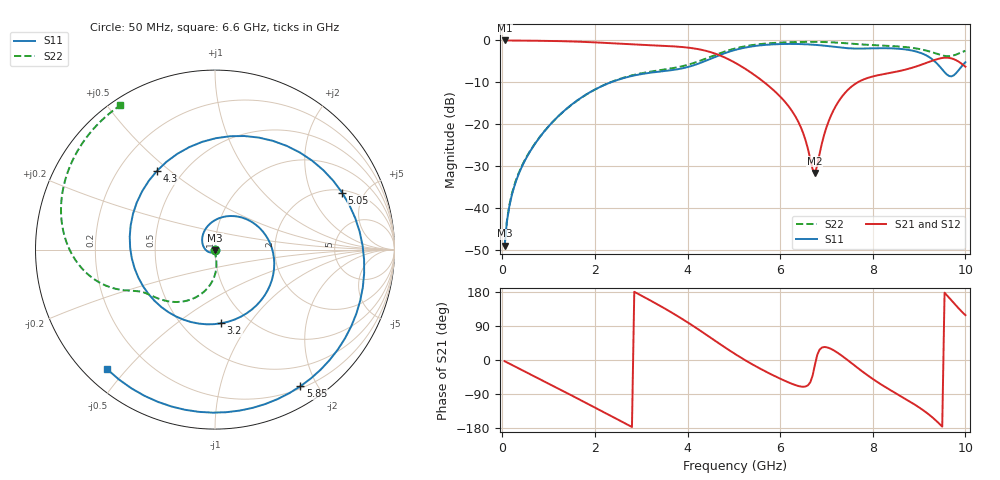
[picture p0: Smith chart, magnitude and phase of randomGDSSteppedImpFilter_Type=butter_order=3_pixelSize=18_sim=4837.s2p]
! freq	dB(S11)	phase(S11)	dB(S12)	phase(S12)
!  dB(S21)	phase(S21)	dB(S22)	phase(S22)
!S-par simulation data
#  GHz  S  DB  R 50
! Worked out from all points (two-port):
!   200 points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, 50 MHz to 10 GHz, reference 50 ohm
!   highest |S21| = 0.00 dB at 50 MHz (marker M1); lowest = -31.7 dB at 6.75 GHz (marker M2)
!   |S21| within 3 dB of the highest: start of sweep to 4.558 GHz
!   lowest |S11| = -49.0 dB at 50 MHz (marker M3), VSWR 1.01, Z = 50 - j0.356 ohm
!   |S11| at or under -10 dB: start of sweep to 2.344 GHz
!   |S22| runs from -49.1 to -0.3 dB; largest |S21 - S12| = 0
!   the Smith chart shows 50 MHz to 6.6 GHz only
!   S11 on the Smith chart (normalised r, x): 50 MHz: 1.00, -0.01; 3.2 GHz: 0.75, -0.75; 4.3 GHz: 0.36, +0.45; 5.05 GHz: 2.13, +3.41; 5.85 GHz: 0.23, -1.78; 6.6 GHz: 0.06, -0.44
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0.05  -48.97 -89.9  -0.00 -3.2  -0.00 -3.2  -49.11 -80.0
0.2  -37.19 -116.9  -0.02 -12.5  -0.02 -12.5  -36.90 -84.7
0.5  -28.44 -159.6  -0.05 -31.0  -0.05 -31.0  -28.27 -83.1
1.75  -13.34 60.0  -0.34 -109.6  -0.34 -109.6  -13.36 -100.4
2.5  -9.39 -13.3  -0.75 -157.5  -0.75 -157.5  -9.31 -122.2
3.2  -7.70 -85.2  -1.15 157.0  -1.15 157.0  -7.45 -140.9
3.4  -7.43 -108.2  -1.25 143.4  -1.25 143.4  -7.11 -145.0
4.3  -5.27 126.3  -2.23 75.4  -2.23 75.4  -4.73 -157.5
4.65  -3.69 75.5  -3.36 46.2  -3.36 46.2  -3.24 -165.8
5.05  -2.20 24.2  -5.47 14.0  -5.47 14.0  -1.86 -179.6
5.85  -0.94 -58.0  -11.80 -40.5  -11.80 -40.5  -0.61 150.1
6.6  -0.94 -132.0  -25.88 -66.8  -25.88 -66.8  -0.34 123.3
6.7  -1.01 -143.6  -30.71 -41.7  -30.71 -41.7  -0.34 119.7
6.75  -1.05 -149.7  -31.66 -13.1  -31.66 -13.1  -0.35 118.0
7.1  -1.43 161.0  -17.88 29.2  -17.88 29.2  -0.44 105.6
7.5  -1.89 90.8  -11.41 -4.3  -11.41 -4.3  -0.74 92.0
7.9  -1.91 22.2  -8.91 -41.5  -8.91 -41.5  -1.05 79.5
8.35  -1.87 -36.7  -7.80 -77.2  -7.80 -77.2  -1.30 65.3
8.9  -2.54 -95.3  -6.35 -117.2  -6.35 -117.2  -1.85 46.5
9.35  -5.11 -158.6  -4.60 -158.1  -4.60 -158.1  -3.06 33.2
9.7  -8.57 96.9  -4.29 157.3  -4.29 157.3  -3.69 33.0
10  -5.20 6.9  -6.26 118.4  -6.26 118.4  -2.47 29.5
